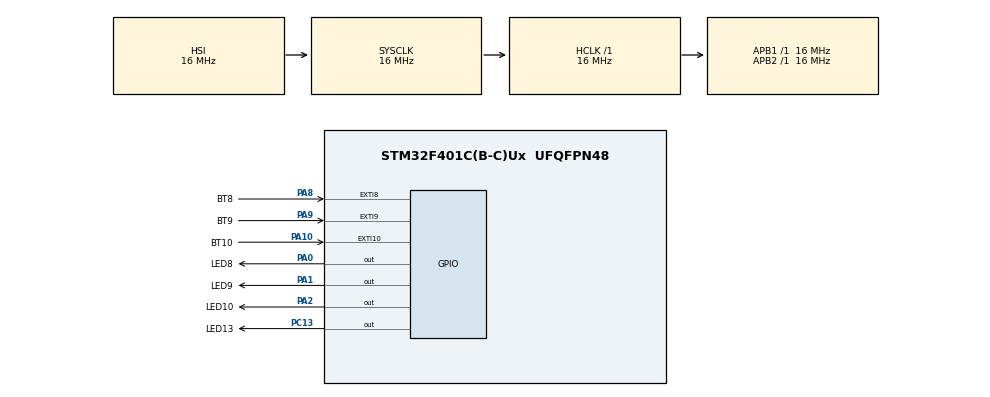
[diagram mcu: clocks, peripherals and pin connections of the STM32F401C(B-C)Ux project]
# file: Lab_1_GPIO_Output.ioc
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Mcu.Family=STM32F4
Mcu.Name=STM32F401C(B-C)Ux
Mcu.Package=UFQFPN48
NVIC.EXTI15_10_IRQn=true\:5\:0\:true\:true\:true\:1\:true\:true\:true
NVIC.EXTI9_5_IRQn=true\:10\:0\:true\:true\:true\:2\:true\:true\:true
NVIC.PriorityGroup=NVIC_PRIORITYGROUP_4
PA0-WKUP.GPIO_Label=LED8
PA0-WKUP.Signal=GPIO_Output
PA1.GPIO_Label=LED9
PA1.Signal=GPIO_Output
PA10.GPIO_Label=BT10
PA10.Signal=GPXTI10
PA13.Mode=Serial_Wire
PA13.Signal=SYS_JTMS-SWDIO
PA14.Mode=Serial_Wire
PA14.Signal=SYS_JTCK-SWCLK
PA2.GPIO_Label=LED10
PA2.Signal=GPIO_Output
PA8.GPIO_Label=BT8
PA8.GPIO_ModeDefaultEXTI=GPIO_MODE_IT_RISING
PA8.Signal=GPXTI8
PA9.GPIO_Label=BT9
PA9.Signal=GPXTI9
PC13-ANTI_TAMP.GPIO_Label=LED13
PC13-ANTI_TAMP.Signal=GPIO_Output
ProjectManager.HeapSize=0x200
ProjectManager.StackSize=0x400
ProjectManager.TargetToolchain=STM32CubeIDE
RCC.AHBFreq_Value=16000000
RCC.APB1Freq_Value=16000000
RCC.APB2Freq_Value=16000000
RCC.CortexFreq_Value=16000000
RCC.HSE_VALUE=25000000
RCC.HSI_VALUE=16000000
RCC.LSE_VALUE=32768
RCC.SYSCLKFreq_VALUE=16000000
RCC.VCOOutputFreq_Value=192000000
board=custom

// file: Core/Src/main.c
/* USER CODE BEGIN Header */
/**
  ******************************************************************************
  * @file           : main.c
  * @brief          : Main program body
  ******************************************************************************
  * @attention
  *
  * Copyright (c) 2023 STMicroelectronics.
  * All rights reserved.
  *
  * This software is licensed under terms that can be found in the LICENSE file
  * in the root directory of this software component.
  * If no LICENSE file comes with this software, it is provided AS-IS.
  *
  ******************************************************************************
  */
/* USER CODE END Header */
#include "main.h"

void SystemClock_Config(void);
static void MX_GPIO_Init(void);
static void MX_NVIC_Init(void);
/* USER CODE BEGIN PFP */
void WaitForCallback(void);
/* USER CODE END PFP */

int main(void)
{

  /* MCU Configuration--------------------------------------------------------*/

  /* Reset of all peripherals, Initializes the Flash interface and the Systick. */
  HAL_Init();

  /* Configure the system clock */
  SystemClock_Config();

  /* Initialize all configured peripherals */
  MX_GPIO_Init();

  /* Initialize interrupts */
  MX_NVIC_Init();

  /* Infinite loop */
  /* USER CODE BEGIN WHILE */
  while (1)
  {
	  HAL_GPIO_TogglePin(LED13_GPIO_Port, LED13_Pin);
	  HAL_Delay(200);

    /* USER CODE END WHILE */

  }
}

void SystemClock_Config(void)
{
  RCC_OscInitTypeDef RCC_OscInitStruct = {0};
  RCC_ClkInitTypeDef RCC_ClkInitStruct = {0};

  /** Configure the main internal regulator output voltage
  */
  __HAL_RCC_PWR_CLK_ENABLE();
  __HAL_PWR_VOLTAGESCALING_CONFIG(PWR_REGULATOR_VOLTAGE_SCALE2);

  /** Initializes the RCC Oscillators according to the specified parameters
  * in the RCC_OscInitTypeDef structure.
  */
  RCC_OscInitStruct.OscillatorType = RCC_OSCILLATORTYPE_HSI;
  RCC_OscInitStruct.HSIState = RCC_HSI_ON;
  RCC_OscInitStruct.HSICalibrationValue = RCC_HSICALIBRATION_DEFAULT;
  RCC_OscInitStruct.PLL.PLLState = RCC_PLL_NONE;
  if (HAL_RCC_OscConfig(&RCC_OscInitStruct) != HAL_OK)
  {
    Error_Handler();
  }

  /** Initializes the CPU, AHB and APB buses clocks
  */
  RCC_ClkInitStruct.ClockType = RCC_CLOCKTYPE_HCLK|RCC_CLOCKTYPE_SYSCLK
                              |RCC_CLOCKTYPE_PCLK1|RCC_CLOCKTYPE_PCLK2;
  RCC_ClkInitStruct.SYSCLKSource = RCC_SYSCLKSOURCE_HSI;
  RCC_ClkInitStruct.AHBCLKDivider = RCC_SYSCLK_DIV1;
  RCC_ClkInitStruct.APB1CLKDivider = RCC_HCLK_DIV1;
  RCC_ClkInitStruct.APB2CLKDivider = RCC_HCLK_DIV1;

  if (HAL_RCC_ClockConfig(&RCC_ClkInitStruct, FLASH_LATENCY_0) != HAL_OK)
  {
    Error_Handler();
  }
}

/**
  * @brief NVIC Configuration.
  * @retval None
  */
static void MX_NVIC_Init(void)
{
  /* EXTI15_10_IRQn interrupt configuration */
  HAL_NVIC_SetPriority(EXTI15_10_IRQn, 5, 0);
  HAL_NVIC_EnableIRQ(EXTI15_10_IRQn);
  /* EXTI9_5_IRQn interrupt configuration */
  HAL_NVIC_SetPriority(EXTI9_5_IRQn, 10, 0);
  HAL_NVIC_EnableIRQ(EXTI9_5_IRQn);
}

static void MX_GPIO_Init(void)
{
  GPIO_InitTypeDef GPIO_InitStruct = {0};

  /* GPIO Ports Clock Enable */
  __HAL_RCC_GPIOC_CLK_ENABLE();
  __HAL_RCC_GPIOA_CLK_ENABLE();

  /*Configure GPIO pin Output Level */
  HAL_GPIO_WritePin(LED13_GPIO_Port, LED13_Pin, GPIO_PIN_RESET);

  /*Configure GPIO pin Output Level */
  HAL_GPIO_WritePin(GPIOA, LED8_Pin|LED9_Pin|LED10_Pin, GPIO_PIN_RESET);

  /*Configure GPIO pin : LED13_Pin */
  GPIO_InitStruct.Pin = LED13_Pin;
  GPIO_InitStruct.Mode = GPIO_MODE_OUTPUT_PP;
  GPIO_InitStruct.Pull = GPIO_NOPULL;
  GPIO_InitStruct.Speed = GPIO_SPEED_FREQ_LOW;
  HAL_GPIO_Init(LED13_GPIO_Port, &GPIO_InitStruct);

  /*Configure GPIO pins : LED8_Pin LED9_Pin LED10_Pin */
  GPIO_InitStruct.Pin = LED8_Pin|LED9_Pin|LED10_Pin;
  GPIO_InitStruct.Mode = GPIO_MODE_OUTPUT_PP;
  GPIO_InitStruct.Pull = GPIO_NOPULL;
  GPIO_InitStruct.Speed = GPIO_SPEED_FREQ_LOW;
  HAL_GPIO_Init(GPIOA, &GPIO_InitStruct);

  /*Configure GPIO pins : BT8_Pin BT9_Pin BT10_Pin */
  GPIO_InitStruct.Pin = BT8_Pin|BT9_Pin|BT10_Pin;
  GPIO_InitStruct.Mode = GPIO_MODE_IT_RISING;
  GPIO_InitStruct.Pull = GPIO_NOPULL;
  HAL_GPIO_Init(GPIOA, &GPIO_InitStruct);

}

/* USER CODE BEGIN 4 */
void HAL_GPIO_EXTI_Callback(uint16_t GPIO_Pin)
{
	if (GPIO_Pin == BT9_Pin) {
		HAL_GPIO_WritePin(LED9_GPIO_Port, LED9_Pin, GPIO_PIN_SET);
		WaitForCallback();
		HAL_GPIO_WritePin(LED9_GPIO_Port, LED9_Pin, GPIO_PIN_RESET);
	}
	if (GPIO_Pin == BT8_Pin) {
		HAL_GPIO_WritePin(LED8_GPIO_Port, LED8_Pin, GPIO_PIN_SET);
		WaitForCallback();
		HAL_GPIO_WritePin(LED8_GPIO_Port, LED8_Pin, GPIO_PIN_RESET);
	}
	if (GPIO_Pin == BT10_Pin) {
		HAL_GPIO_WritePin(LED10_GPIO_Port, LED10_Pin, GPIO_PIN_SET);
		WaitForCallback();
		HAL_GPIO_WritePin(LED10_GPIO_Port, LED10_Pin, GPIO_PIN_RESET);
	}
}

void WaitForCallback(void)
{
	for(volatile int i = 0; i < 1000000; i++) {
		/* Busy wait */
	}
}
/* USER CODE END 4 */

void Error_Handler(void)
{
  __disable_irq();
  while (1)
  {
  }
}
